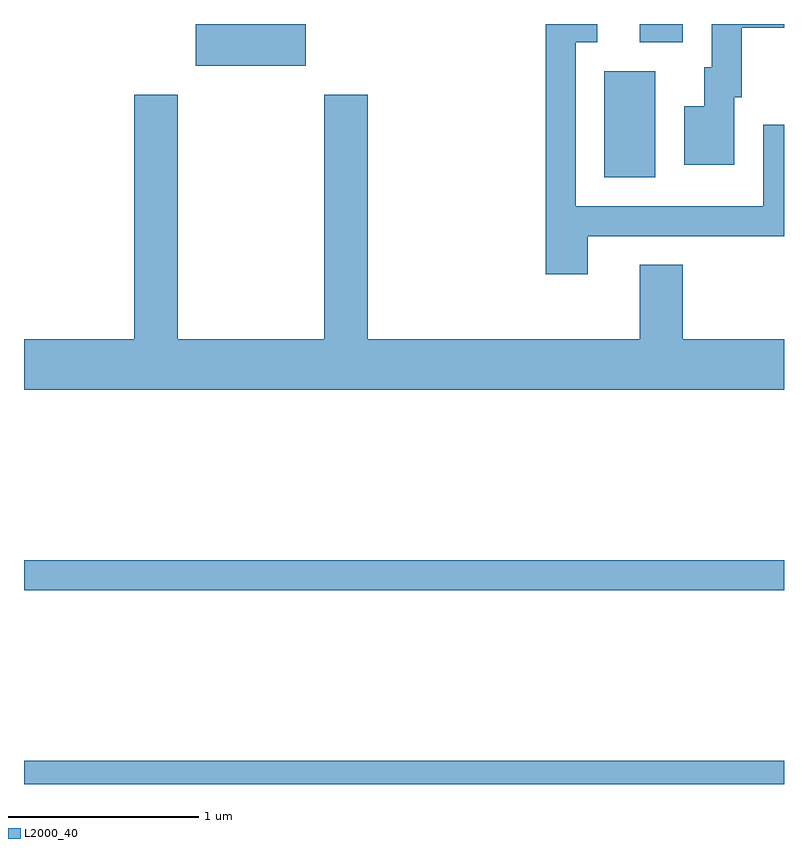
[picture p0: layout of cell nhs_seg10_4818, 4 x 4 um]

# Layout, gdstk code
import gdstk
lib = gdstk.Library(unit=1e-6, precision=1e-09)
def R(c, l, rs):  # rectangles x0, y0, x1, y1
    for r in rs: c.add(gdstk.rectangle(r[:2], r[2:], *l))
def P(c, l, *ps):  # polygons
    for p in ps: c.add(gdstk.Polygon(p, *l))
L2000_40 = (2000, 40)

nhs_seg10_4818 = lib.new_cell('nhs_seg10_4818')
R(nhs_seg10_4818, L2000_40, [(327.611,2098.522,331.611,2098.644), (327.611,2099.541,331.611,2099.699), (330.666,2101.716,330.934,2102.274), (328.516,2102.301,329.094,2102.522), (330.851,2102.426,331.079,2102.522)])
P(nhs_seg10_4818, L2000_40, [(330.579,2101.406),(331.611,2101.406),(331.611,2101.993),(331.501,2101.993),(331.501,2101.564),(330.514,2101.564),(330.514,2102.426),(330.628,2102.426),(330.628,2102.522),(330.356,2102.522),(330.356,2101.206),(330.579,2101.206)],
  [(331.349,2102.136),(331.389,2102.136),(331.389,2102.501),(331.611,2102.501),(331.611,2102.522),(331.231,2102.522),(331.231,2102.294),(331.191,2102.294),(331.191,2102.089),(331.086,2102.089),(331.086,2101.781),(331.349,2101.781)],
  [(331.611,2100.864),(331.079,2100.864),(331.079,2101.254),(330.851,2101.254),(330.851,2100.864),(329.419,2100.864),(329.419,2102.149),(329.191,2102.149),(329.191,2100.864),(328.419,2100.864),(328.419,2102.149),(328.191,2102.149),(328.191,2100.864),(327.611,2100.864),(327.611,2100.596),(331.611,2100.596)])

lib.write_gds('nhs_seg10_4818.gds')
